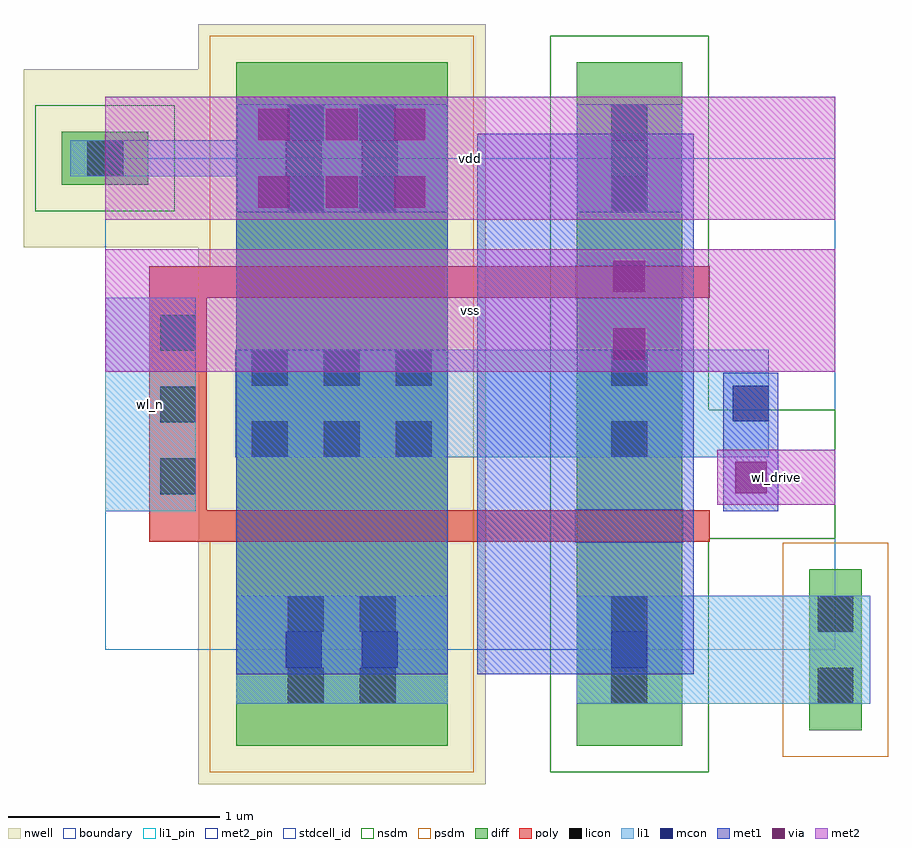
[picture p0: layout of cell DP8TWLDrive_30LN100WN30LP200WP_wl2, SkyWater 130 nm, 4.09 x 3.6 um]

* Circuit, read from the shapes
.subckt DP8TWLDrive_30LN100WN30LP200WP_wl2 vdd vss wl_drive wl_n
XM1 wl_drive wl_n vss VSUBS sky130_fd_pr__nfet_01v8 w=0.5 l=0.15 m=2
XM2 wl_drive wl_n vdd n1 sky130_fd_pr__pfet_01v8 w=1 l=0.15 m=2
.ends

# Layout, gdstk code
import gdstk
lib = gdstk.Library(unit=1e-6, precision=1e-09)
def R(c, l, rs):  # rectangles x0, y0, x1, y1
    for r in rs: c.add(gdstk.rectangle(r[:2], r[2:], *l))
def A(c, l, x, y, w, h, nx, ny, dx, dy):  # array of equal rectangles
    R(c, l, [(x+i*dx, y+j*dy, x+i*dx+w, y+j*dy+h) for i in range(nx) for j in range(ny)])
def P(c, l, *ps):  # polygons
    for p in ps: c.add(gdstk.Polygon(p, *l))
nwell = (64, 20)
diff = (65, 20)
poly = (66, 20)
licon = (66, 44)
li1_pin = (67, 16)
li1 = (67, 20)
mcon = (67, 44)
met1 = (68, 20)
via = (68, 44)
met2_pin = (69, 16)
met2 = (69, 20)
stdcell_id = (81, 4)
nsdm = (93, 44)
psdm = (94, 20)
boundary = (235, 4)

dp8twldrive_30ln100wn30l = lib.new_cell('DP8TWLDrive_30LN100WN30LP200WP_wl2')
P(dp8twldrive_30ln100wn30l, nwell, [(-3.015,-0.635),(-3.015,1.905),(-3.84,1.905),(-3.84,2.745),(-3.015,2.745),(-3.015,2.96),(-1.655,2.96),(-1.655,-0.635)])
R(dp8twldrive_30ln100wn30l, diff, [(-2.835,-0.455,-1.835,2.78), (-1.225,-0.455,-0.725,2.78), (-0.125,-0.38,0.125,0.38), (-3.66,2.2,-3.25,2.45)])
P(dp8twldrive_30ln100wn30l, poly, [(-3.245,0.51),(-3.245,1.815),(-0.595,1.815),(-0.595,1.665),(-2.975,1.665),(-2.975,0.66),(-0.595,0.66),(-0.595,0.51)])
A(dp8twldrive_30ln100wn30l, licon, -3.195, 0.735, 0.17, 0.17, 1, 3, 0, 0.34)
A(dp8twldrive_30ln100wn30l, licon, -2.76, 0.91, 0.17, 0.17, 3, 2, 0.34, 0.34)
R(dp8twldrive_30ln100wn30l, licon, [(-2.59,-0.255,-2.42,-0.085), (-2.25,-0.255,-2.08,-0.085), (-1.06,-0.255,-0.89,-0.085), (-0.085,-0.255,0.085,-0.085), (-2.59,0.085,-2.42,0.255), (-2.25,0.085,-2.08,0.255), (-1.06,0.085,-0.89,0.255), (-0.085,0.085,0.085,0.255), (-1.06,0.91,-0.89,1.08), (-1.06,1.25,-0.89,1.42), (-2.59,2.07,-2.42,2.24), (-2.25,2.07,-2.08,2.24), (-1.06,2.07,-0.89,2.24), (-3.54,2.24,-3.37,2.41), (-2.59,2.41,-2.42,2.58), (-2.25,2.41,-2.08,2.58), (-1.06,2.41,-0.89,2.58)])
R(dp8twldrive_30ln100wn30l, li1_pin, [(-3.455,0.655,-3.025,1.665)])
R(dp8twldrive_30ln100wn30l, li1, [(-2.835,-0.255,-1.835,0.255), (-1.225,-0.255,0.165,0.255), (-3.455,0.655,-3.025,1.665), (-2.84,0.91,-0.315,1.42), (-1.225,2.07,-0.725,2.58)])
P(dp8twldrive_30ln100wn30l, li1, [(-2.835,2.07),(-2.835,2.24),(-3.62,2.24),(-3.62,2.41),(-2.835,2.41),(-2.835,2.58),(-1.835,2.58),(-1.835,2.07)])
R(dp8twldrive_30ln100wn30l, mcon, [(-2.6,-0.085,-2.43,0.085), (-2.24,-0.085,-2.07,0.085), (-1.06,-0.085,-0.89,0.085), (-0.485,1.08,-0.315,1.25), (-2.6,2.24,-2.43,2.41), (-2.24,2.24,-2.07,2.41), (-1.06,2.24,-0.89,2.41)])
R(dp8twldrive_30ln100wn30l, met1, [(-2.835,-0.115,-1.835,2.615), (-1.695,-0.115,-0.67,2.44), (-0.53,0.655,-0.27,1.31)])
A(dp8twldrive_30ln100wn30l, via, -2.73, 2.09, 0.15, 0.15, 3, 2, 0.32, 0.32)
R(dp8twldrive_30ln100wn30l, via, [(-0.475,0.74,-0.325,0.89), (-1.05,1.37,-0.9,1.52), (-1.05,1.69,-0.9,1.84)])
R(dp8twldrive_30ln100wn30l, met2_pin, [(-0.56,0.685,0,0.945), (-3.455,1.315,0,1.895), (-3.455,2.035,0,2.615)])
R(dp8twldrive_30ln100wn30l, met2, [(-0.56,0.685,0,0.945), (-3.455,1.315,0,1.895), (-3.455,2.035,0,2.615)])
R(dp8twldrive_30ln100wn30l, stdcell_id, [(-1.23,0.505,-0.72,0.665), (-1.23,1.66,-0.72,1.82)])
R(dp8twldrive_30ln100wn30l, nsdm, [(-3.785,2.075,-3.125,2.575)])
P(dp8twldrive_30ln100wn30l, nsdm, [(-1.35,-0.58),(-1.35,2.905),(-0.6,2.905),(-0.6,1.135),(0,1.135),(0,0.525),(-0.6,0.525),(-0.6,-0.58)])
R(dp8twldrive_30ln100wn30l, psdm, [(-0.25,-0.505,0.25,0.505)])
P(dp8twldrive_30ln100wn30l, psdm, [(-2.96,-0.58),(-2.96,0.51),(-3.245,0.51),(-3.245,1.81),(-2.96,1.81),(-2.96,2.905),(-1.71,2.905),(-1.71,-0.58)])
R(dp8twldrive_30ln100wn30l, boundary, [(-3.455,0,0,2.325)])
dp8twldrive_30ln100wn30l.add(gdstk.Label('vss', (-1.728,1.605), layer=69, texttype=16))
dp8twldrive_30ln100wn30l.add(gdstk.Label('wl_drive', (-0.28,0.815), layer=69, texttype=16))
dp8twldrive_30ln100wn30l.add(gdstk.Label('vdd', (-1.728,2.325), layer=69, texttype=16))
dp8twldrive_30ln100wn30l.add(gdstk.Label('wl_n', (-3.24,1.16), layer=67, texttype=16))

lib.write_gds('DP8TWLDrive_30LN100WN30LP200WP_wl2.gds')
